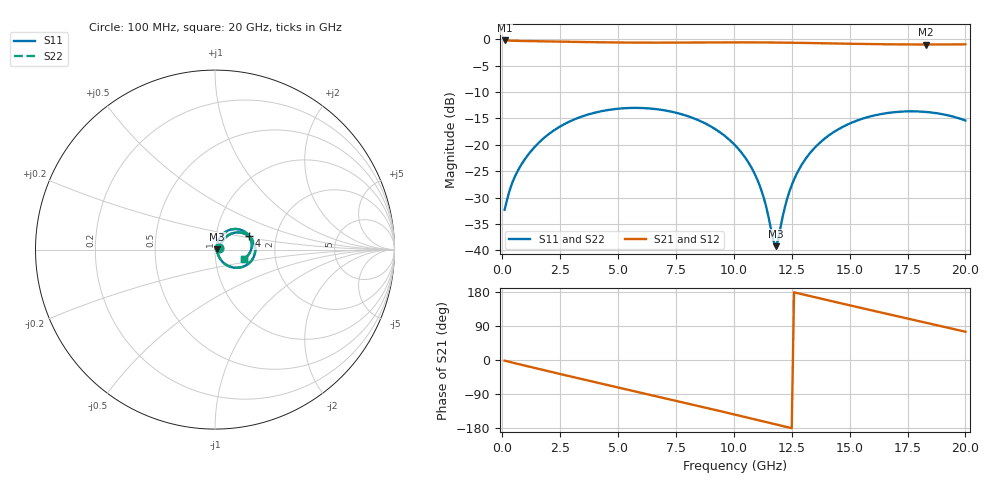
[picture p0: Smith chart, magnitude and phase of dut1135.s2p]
! Touchstone file exported from HFSS 2026.1.0
!  File:  C:/ffzhzh/LocalFiles/Ansys_Project_Files/temp_train_TSV_RDL_1135_1783308297_5512.aedt
!  Generated:  11:35:01 AM Jul  6, 2026
!  Design:  TSV_RDL
!  Project:  temp_train_TSV_RDL_1135_1783308297_5512
! Variables:
!  h_bsmrdl = 2.7um
!  h_ox = 20um
!  h_rdl = 5um
!  h_sub = 79.46um
!  h_tmrdl = 3.48um
!  h_tsv = 79.46um
!  h_via = 3um
!  l_bsmrdl = 751.95um
!  l_sub = 4849.41um
!  l_tmrdl = 510.62um
!  m_sub = 200um
!  pitch = 33.84um
!  r_tsv = 6.42um
!  s_tmrdl = 10um
!  w_bsmrdl = 27.23um
!  w_sub = 500um
!  w_tmrdl = 23.13um
!  x_tsv_center1 = 522.185um
!  x_tsv_center2 = 1301.365um
!  x_tsv_center3 = 1835.115um
!  x_tsv_center4 = 2614.295um
!  x_tsv_center5 = 3148.045um
!  x_tsv_center6 = 3927.225um
# GHz S MA R 50.000000
! Terminal data exported
! Port[1] = TM_RDL1_1_T1
! Port[2] = TM_RDL5_1_T1
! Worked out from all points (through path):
!   200 points, 100 MHz to 20 GHz, reference 50 ohm
!   highest |S21| = -0.20 dB at 100 MHz (marker M1); lowest = -1.0 dB at 18.3 GHz (marker M2)
!   group delay of S21, straight-line fit = 39.6 ps
!   lowest |S11| = -39.2 dB at 11.8 GHz (marker M3), VSWR 1.02, Z = 51.1 + j0.0754 ohm
!   |S11| at or under -10 dB: start of sweep to end of sweep
!   |S22| runs from -38.9 to -13.0 dB; largest |S21 - S12| = 3.2e-14
!   S11 on the Smith chart (normalised r, x): 100 MHz: 1.05, +0.02; 4 GHz: 1.44, +0.23; 20 GHz: 1.38, -0.14
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0.1  0.02417 20.9  0.9776 -1.7  0.9776 -1.7  0.02417 20.9
! Gamma 0 0 0 0
! Port Impedance 50 0 50 0
0.5  0.04759 44.9  0.9705 -7.8  0.9705 -7.8  0.04759 44.9
1.3  0.09039 48.9  0.9629 -19.5  0.9629 -19.5  0.09038 48.9
2.3  0.1405 41.6  0.9546 -34.1  0.9546 -34.1  0.1405 41.6
3.5  0.1877 28.1  0.9445 -51.3  0.9445 -51.3  0.1877 28.1
4  0.202 22.0  0.9409 -58.4  0.9409 -58.4  0.202 22.0
5.4  0.2234 4.2  0.9337 -78.1  0.9337 -78.1  0.2234 4.2
6.8  0.216 -14.0  0.932 -97.7  0.932 -97.7  0.216 -13.9
8.7  0.1623 -38.7  0.9356 -124.7  0.9356 -124.7  0.1623 -38.6
10.1  0.09663 -55.4  0.9378 -144.9  0.9378 -144.9  0.09666 -55.3
10.7  0.06419 -60.5  0.9375 -153.6  0.9375 -153.6  0.06425 -60.2
11.1  0.04199 -60.9  0.9367 -159.5  0.9367 -159.5  0.04208 -60.4
11.4  0.02569 -55.0  0.9359 -163.8  0.9359 -163.8  0.02585 -54.2
11.7  0.01241 -22.6  0.9347 -168.2  0.9347 -168.2  0.01274 -21.8
11.8  0.01094 3.9  0.9343 -169.7  0.9343 -169.7  0.01132 3.8
12.2  0.02545 63.2  0.9322 -175.5  0.9322 -175.5  0.0256 62.4
12.5  0.04147 69.1  0.9303 -179.9  0.9303 -179.9  0.04156 68.6
13.4  0.0892 64.9  0.9237 167.1  0.9237 167.1  0.08923 64.7
14.8  0.1518 48.8  0.9117 147.1  0.9117 147.1  0.1518 48.6
16.7  0.2014 24.7  0.8987 120.6  0.8987 120.6  0.2013 24.6
18.3  0.2052 4.3  0.895 98.4  0.895 98.4  0.2051 4.2
20  0.1703 -17.1  0.8979 74.6  0.8979 74.6  0.1702 -17.2
